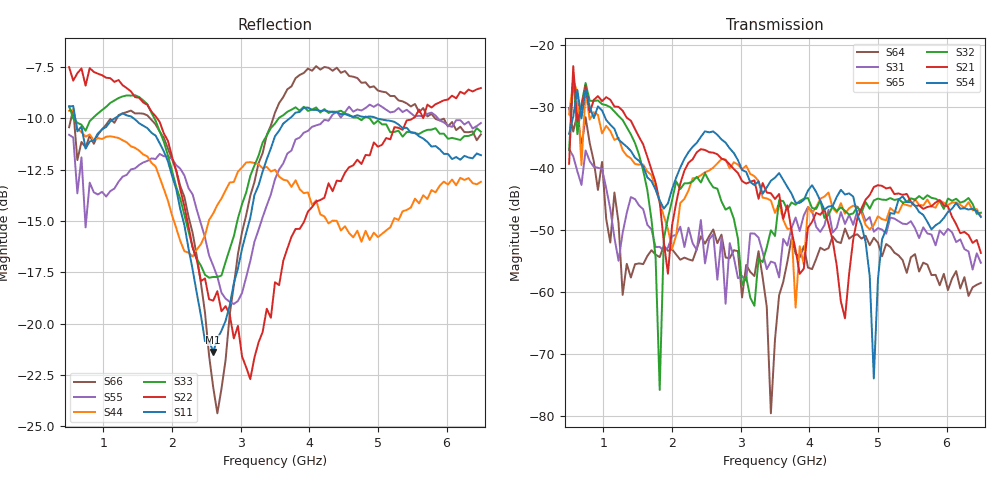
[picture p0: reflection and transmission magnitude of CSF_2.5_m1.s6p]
!Keysight Technologies,M9804A,MY58100912,A.14.10.03
!Date: Thursday, April 27, 2023 10:28:33
!Correction: S11(C  6-Port  )
!S12(C  6-Port  )
!S13(C  6-Port  )
!S14(C  6-Port  )
!S15(C  6-Port  )
!S16(C  6-Port  )
!S21(C  6-Port  )
!S22(C  6-Port  )
!S23(C  6-Port  )
!S24(C  6-Port  )
!S25(C  6-Port  )
!S26(C  6-Port  )
!S31(C  6-Port  )
!S32(C  6-Port  )
!S33(C  6-Port  )
!S34(C  6-Port  )
!S35(C  6-Port  )
!S36(C  6-Port  )
!S41(C  6-Port  )
!S42(C  6-Port  )
!S43(C  6-Port  )
!S44(C  6-Port  )
!S45(C  6-Port  )
!S46(C  6-Port  )
!S51(C  6-Port  )
!S52(C  6-Port  )
!S53(C  6-Port  )
!S54(C  6-Port  )
!S55(C  6-Port  )
!S56(C  6-Port  )
!S61(C  6-Port  )
!S62(C  6-Port  )
!S63(C  6-Port  )
!S64(C  6-Port  )
!S65(C  6-Port  )
!S66(C  6-Port  )
!S6P File: Measurement: :
# Hz S  RI  R 50
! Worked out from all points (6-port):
!   101 points, 500 MHz to 6.5 GHz, reference 50 ohm
!   strongest paths, dB at 500 MHz, 2 GHz, 3.5 GHz, 5 GHz, 6.5 GHz:
!     S54: -34.4, -43.4, -41.5, -57.9, -47.8
!     S21: -39.3, -49.2, -44.9, -42.7, -53.7
!     S32: -37.0, -45.2, -50.9, -44.9, -47.2
!     S65: -31.3, -53.0, -47.2, -47.7, -47.8
!     S31: -36.9, -50.9, -55.3, -49.7, -55.2
!     S64: -30.2, -53.1, -67.6, -52.0, -58.5
!   lowest |S11| = -21.4 dB at 2.6 GHz (marker M1), VSWR 1.19, Z = 42.4 + j2.21 ohm
!   |S11| at or under -10 dB: 589.3 MHz to 1.163 GHz (573.6 MHz wide, 65.5 % of centre); 1.441 GHz to 3.713 GHz (2.273 GHz wide, 88.2 % of centre); 4.986 GHz to end of sweep
